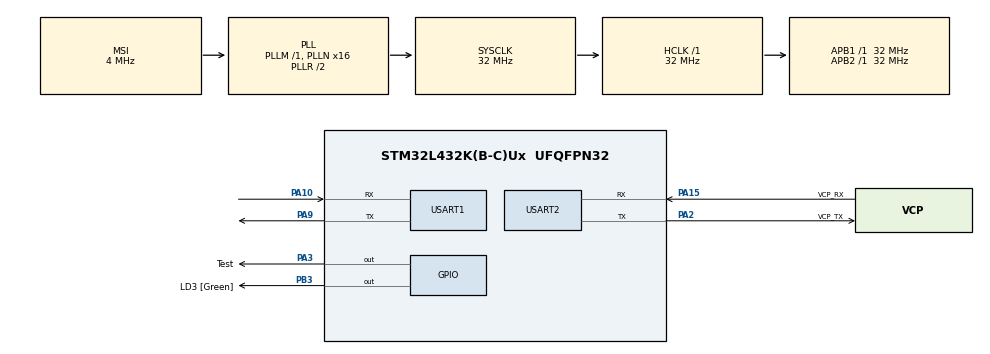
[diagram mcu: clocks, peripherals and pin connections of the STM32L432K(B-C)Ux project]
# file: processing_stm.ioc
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Dma.Request0=USART1_RX
Dma.Request1=USART2_TX
Dma.USART1_RX.0.Direction=DMA_PERIPH_TO_MEMORY
Dma.USART1_RX.0.Instance=DMA1_Channel5
Dma.USART1_RX.0.MemDataAlignment=DMA_MDATAALIGN_BYTE
Dma.USART1_RX.0.MemInc=DMA_MINC_ENABLE
Dma.USART1_RX.0.Mode=DMA_NORMAL
Dma.USART1_RX.0.PeriphDataAlignment=DMA_PDATAALIGN_BYTE
Dma.USART1_RX.0.PeriphInc=DMA_PINC_DISABLE
Dma.USART1_RX.0.Priority=DMA_PRIORITY_LOW
Dma.USART2_TX.1.Direction=DMA_MEMORY_TO_PERIPH
Dma.USART2_TX.1.Instance=DMA1_Channel7
Dma.USART2_TX.1.MemDataAlignment=DMA_MDATAALIGN_BYTE
Dma.USART2_TX.1.MemInc=DMA_MINC_ENABLE
Dma.USART2_TX.1.Mode=DMA_NORMAL
Dma.USART2_TX.1.PeriphDataAlignment=DMA_PDATAALIGN_BYTE
Dma.USART2_TX.1.PeriphInc=DMA_PINC_DISABLE
Dma.USART2_TX.1.Priority=DMA_PRIORITY_LOW
Mcu.Family=STM32L4
Mcu.Name=STM32L432K(B-C)Ux
Mcu.Package=UFQFPN32
NVIC.DMA1_Channel5_IRQn=true\:0\:0\:false\:false\:true\:false\:true\:true
NVIC.DMA1_Channel7_IRQn=true\:0\:0\:false\:false\:true\:false\:true\:true
NVIC.PriorityGroup=NVIC_PRIORITYGROUP_4
NVIC.USART1_IRQn=true\:0\:0\:false\:false\:true\:true\:true\:true
NVIC.USART2_IRQn=true\:0\:0\:false\:false\:true\:true\:true\:true
PA0.GPIO_Label=MCO [High speed clock in]
PA0.Mode=HSE-External-Clock-Source-for-LittleOrca
PA0.Signal=RCC_CK_IN
PA10.Mode=Asynchronous
PA10.Signal=USART1_RX
PA13\ (JTMS-SWDIO).GPIO_Label=SWDIO
PA13\ (JTMS-SWDIO).Mode=Serial_Wire
PA13\ (JTMS-SWDIO).Signal=SYS_JTMS-SWDIO
PA14\ (JTCK-SWCLK).GPIO_Label=SWCLK
PA14\ (JTCK-SWCLK).Mode=Serial_Wire
PA14\ (JTCK-SWCLK).Signal=SYS_JTCK-SWCLK
PA15\ (JTDI).GPIO_Label=VCP_RX
PA15\ (JTDI).Mode=Asynchronous
PA15\ (JTDI).Signal=USART2_RX
PA2.GPIO_Label=VCP_TX
PA2.Mode=Asynchronous
PA2.Signal=USART2_TX
PA3.GPIO_Label=Test
PA3.Signal=GPIO_Output
PA9.Mode=Asynchronous
PA9.Signal=USART1_TX
PB3\ (JTDO-TRACESWO).GPIO_Label=LD3 [Green]
PB3\ (JTDO-TRACESWO).Signal=GPIO_Output
PC14-OSC32_IN\ (PC14).Mode=LSE-External-Oscillator
PC14-OSC32_IN\ (PC14).Signal=RCC_OSC32_IN
PC15-OSC32_OUT\ (PC15).Mode=LSE-External-Oscillator
PC15-OSC32_OUT\ (PC15).Signal=RCC_OSC32_OUT
ProjectManager.HeapSize=0x200
ProjectManager.StackSize=0x400
ProjectManager.TargetToolchain=STM32CubeIDE
RCC.AHBFreq_Value=32000000
RCC.APB1Freq_Value=32000000
RCC.APB1TimFreq_Value=32000000
RCC.APB2Freq_Value=32000000
RCC.APB2TimFreq_Value=32000000
RCC.CortexFreq_Value=32000000
RCC.HCLKFreq_Value=32000000
RCC.HSE_VALUE=8000000
RCC.HSI16_VALUE=16000000
RCC.HSI48_VALUE=48000000
RCC.HSI_VALUE=16000000
RCC.MSI_VALUE=4000000
RCC.PLLMUL=RCC_PLLMUL_4
RCC.PLLN=16
RCC.SYSCLKFreq_VALUE=32000000
RCC.SYSCLKSource=RCC_SYSCLKSOURCE_PLLCLK
RCC.VCOOutputFreq_Value=64000000
USART1.VirtualMode-Asynchronous=VM_ASYNC
USART2.VirtualMode-Asynchronous=VM_ASYNC
board=NUCLEO-L432KC

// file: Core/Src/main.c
/* USER CODE BEGIN Header */
/**
  ******************************************************************************
  * @file           : main.c
  * @brief          : Main program body
  ******************************************************************************
  * @attention
  *
  * Copyright (c) 2026 STMicroelectronics.
  * All rights reserved.
  *
  * This software is licensed under terms that can be found in the LICENSE file
  * in the root directory of this software component.
  * If no LICENSE file comes with this software, it is provided AS-IS.
  *
  ******************************************************************************
  */
/* USER CODE END Header */
#include "main.h"

UART_HandleTypeDef huart1;
UART_HandleTypeDef huart2;
DMA_HandleTypeDef hdma_usart1_rx;
DMA_HandleTypeDef hdma_usart2_tx;

void SystemClock_Config(void);
static void MX_GPIO_Init(void);
static void MX_DMA_Init(void);
static void MX_USART2_UART_Init(void);
static void MX_USART1_UART_Init(void);
/* USER CODE BEGIN PFP */
uint8_t rxBuffer[256];
uint8_t average;
uint8_t counter = 0;
uint8_t initialise = 0;
uint8_t cumulative_sample;
/* USER CODE END PFP */

/* USER CODE BEGIN 0 */
const uint8_t window_size = 2;
void HAL_UART_RxCpltCallback(UART_HandleTypeDef *huart) {
	HAL_GPIO_TogglePin(Test_GPIO_Port, Test_Pin);
	if (huart->Instance == USART1) {
		counter++;
		if (counter == window_size){ // loops the counter around for each index in the window size
			counter = 0;
		}
		if (initialise >= window_size-1) // doesn't send first few datapoints until average can be computed
		{
			cumulative_sample = 0; // calculates average
			for (uint8_t i = 0; i < window_size; i++)
			{
				cumulative_sample += rxBuffer[i];
			}

			average = cumulative_sample/window_size;

			HAL_UART_Transmit_DMA(&huart2, &average, 1);
		} else {
			initialise ++;
		}

        HAL_StatusTypeDef status = HAL_UART_Receive_DMA(&huart1, rxBuffer + counter, 1);
        if (status != HAL_OK) {
            HAL_GPIO_WritePin(LD3_GPIO_Port, LD3_Pin, GPIO_PIN_SET); // lights up if re-arm fails
        }
	}
}

/* USER CODE END 0 */

int main(void)
{

  /* MCU Configuration--------------------------------------------------------*/

  /* Reset of all peripherals, Initializes the Flash interface and the Systick. */
  HAL_Init();

  /* Configure the system clock */
  SystemClock_Config();

  /* Initialize all configured peripherals */
  MX_GPIO_Init();
  MX_DMA_Init();
  MX_USART2_UART_Init();
  MX_USART1_UART_Init();
  /* USER CODE BEGIN 2 */

  HAL_UART_Receive_DMA(&huart1, rxBuffer + counter, 1);
  HAL_GPIO_WritePin(Test_GPIO_Port, Test_Pin, 0);

  /* USER CODE END 2 */

  /* Infinite loop */
  while (1)
  {

  }
}

void SystemClock_Config(void)
{
  RCC_OscInitTypeDef RCC_OscInitStruct = {0};
  RCC_ClkInitTypeDef RCC_ClkInitStruct = {0};

  /** Configure the main internal regulator output voltage
  */
  if (HAL_PWREx_ControlVoltageScaling(PWR_REGULATOR_VOLTAGE_SCALE1) != HAL_OK)
  {
    Error_Handler();
  }

  /** Configure LSE Drive Capability
  */
  HAL_PWR_EnableBkUpAccess();
  __HAL_RCC_LSEDRIVE_CONFIG(RCC_LSEDRIVE_LOW);

  /** Initializes the RCC Oscillators according to the specified parameters
  * in the RCC_OscInitTypeDef structure.
  */
  RCC_OscInitStruct.OscillatorType = RCC_OSCILLATORTYPE_LSE|RCC_OSCILLATORTYPE_MSI;
  RCC_OscInitStruct.LSEState = RCC_LSE_ON;
  RCC_OscInitStruct.MSIState = RCC_MSI_ON;
  RCC_OscInitStruct.MSICalibrationValue = 0;
  RCC_OscInitStruct.MSIClockRange = RCC_MSIRANGE_6;
  RCC_OscInitStruct.PLL.PLLState = RCC_PLL_ON;
  RCC_OscInitStruct.PLL.PLLSource = RCC_PLLSOURCE_MSI;
  RCC_OscInitStruct.PLL.PLLM = 1;
  RCC_OscInitStruct.PLL.PLLN = 16;
  RCC_OscInitStruct.PLL.PLLP = RCC_PLLP_DIV7;
  RCC_OscInitStruct.PLL.PLLQ = RCC_PLLQ_DIV2;
  RCC_OscInitStruct.PLL.PLLR = RCC_PLLR_DIV2;
  if (HAL_RCC_OscConfig(&RCC_OscInitStruct) != HAL_OK)
  {
    Error_Handler();
  }

  /** Initializes the CPU, AHB and APB buses clocks
  */
  RCC_ClkInitStruct.ClockType = RCC_CLOCKTYPE_HCLK|RCC_CLOCKTYPE_SYSCLK
                              |RCC_CLOCKTYPE_PCLK1|RCC_CLOCKTYPE_PCLK2;
  RCC_ClkInitStruct.SYSCLKSource = RCC_SYSCLKSOURCE_PLLCLK;
  RCC_ClkInitStruct.AHBCLKDivider = RCC_SYSCLK_DIV1;
  RCC_ClkInitStruct.APB1CLKDivider = RCC_HCLK_DIV1;
  RCC_ClkInitStruct.APB2CLKDivider = RCC_HCLK_DIV1;

  if (HAL_RCC_ClockConfig(&RCC_ClkInitStruct, FLASH_LATENCY_1) != HAL_OK)
  {
    Error_Handler();
  }

  /** Enable MSI Auto calibration
  */
  HAL_RCCEx_EnableMSIPLLMode();
}

static void MX_USART1_UART_Init(void)
{

  huart1.Instance = USART1;
  huart1.Init.BaudRate = 115200;
  huart1.Init.WordLength = UART_WORDLENGTH_8B;
  huart1.Init.StopBits = UART_STOPBITS_1;
  huart1.Init.Parity = UART_PARITY_NONE;
  huart1.Init.Mode = UART_MODE_TX_RX;
  huart1.Init.HwFlowCtl = UART_HWCONTROL_NONE;
  huart1.Init.OverSampling = UART_OVERSAMPLING_16;
  huart1.Init.OneBitSampling = UART_ONE_BIT_SAMPLE_DISABLE;
  huart1.AdvancedInit.AdvFeatureInit = UART_ADVFEATURE_NO_INIT;
  if (HAL_UART_Init(&huart1) != HAL_OK)
  {
    Error_Handler();
  }

}

static void MX_USART2_UART_Init(void)
{

  huart2.Instance = USART2;
  huart2.Init.BaudRate = 115200;
  huart2.Init.WordLength = UART_WORDLENGTH_8B;
  huart2.Init.StopBits = UART_STOPBITS_1;
  huart2.Init.Parity = UART_PARITY_NONE;
  huart2.Init.Mode = UART_MODE_TX_RX;
  huart2.Init.HwFlowCtl = UART_HWCONTROL_NONE;
  huart2.Init.OverSampling = UART_OVERSAMPLING_16;
  huart2.Init.OneBitSampling = UART_ONE_BIT_SAMPLE_DISABLE;
  huart2.AdvancedInit.AdvFeatureInit = UART_ADVFEATURE_NO_INIT;
  if (HAL_UART_Init(&huart2) != HAL_OK)
  {
    Error_Handler();
  }

}

static void MX_DMA_Init(void)
{

  /* DMA controller clock enable */
  __HAL_RCC_DMA1_CLK_ENABLE();

  /* DMA interrupt init */
  /* DMA1_Channel5_IRQn interrupt configuration */
  HAL_NVIC_SetPriority(DMA1_Channel5_IRQn, 0, 0);
  HAL_NVIC_EnableIRQ(DMA1_Channel5_IRQn);
  /* DMA1_Channel7_IRQn interrupt configuration */
  HAL_NVIC_SetPriority(DMA1_Channel7_IRQn, 0, 0);
  HAL_NVIC_EnableIRQ(DMA1_Channel7_IRQn);

}

static void MX_GPIO_Init(void)
{
  GPIO_InitTypeDef GPIO_InitStruct = {0};

  /* GPIO Ports Clock Enable */
  __HAL_RCC_GPIOC_CLK_ENABLE();
  __HAL_RCC_GPIOA_CLK_ENABLE();
  __HAL_RCC_GPIOB_CLK_ENABLE();

  /*Configure GPIO pin Output Level */
  HAL_GPIO_WritePin(Test_GPIO_Port, Test_Pin, GPIO_PIN_RESET);

  /*Configure GPIO pin Output Level */
  HAL_GPIO_WritePin(LD3_GPIO_Port, LD3_Pin, GPIO_PIN_RESET);

  /*Configure GPIO pin : Test_Pin */
  GPIO_InitStruct.Pin = Test_Pin;
  GPIO_InitStruct.Mode = GPIO_MODE_OUTPUT_PP;
  GPIO_InitStruct.Pull = GPIO_NOPULL;
  GPIO_InitStruct.Speed = GPIO_SPEED_FREQ_LOW;
  HAL_GPIO_Init(Test_GPIO_Port, &GPIO_InitStruct);

  /*Configure GPIO pin : LD3_Pin */
  GPIO_InitStruct.Pin = LD3_Pin;
  GPIO_InitStruct.Mode = GPIO_MODE_OUTPUT_PP;
  GPIO_InitStruct.Pull = GPIO_NOPULL;
  GPIO_InitStruct.Speed = GPIO_SPEED_FREQ_LOW;
  HAL_GPIO_Init(LD3_GPIO_Port, &GPIO_InitStruct);

}

void Error_Handler(void)
{
  __disable_irq();
  while (1)
  {
  }
}
